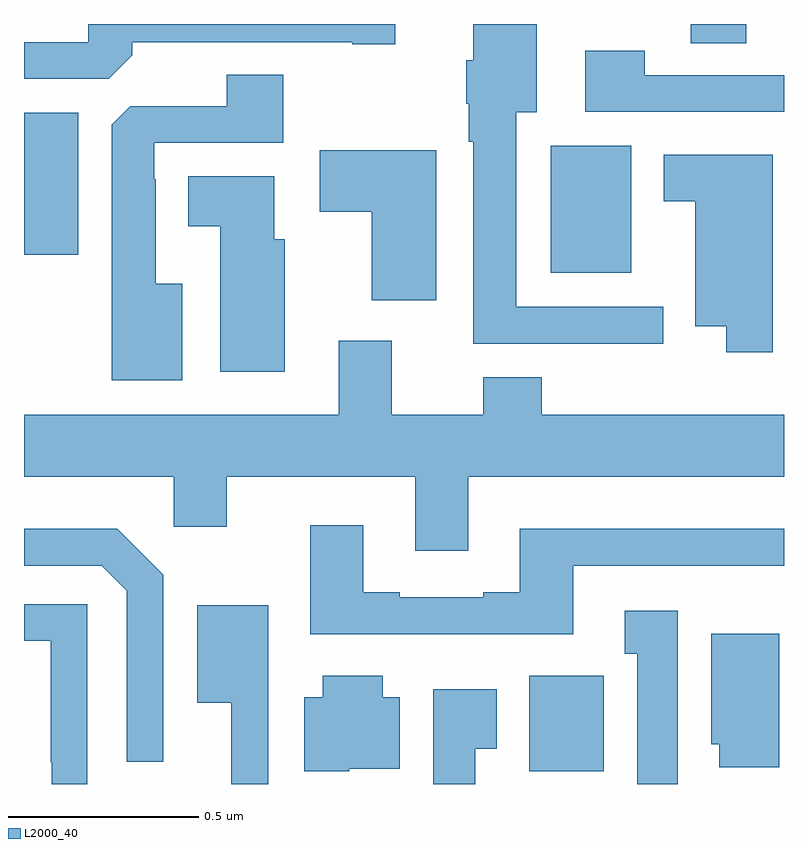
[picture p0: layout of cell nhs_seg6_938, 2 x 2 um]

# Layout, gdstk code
import gdstk
lib = gdstk.Library(unit=1e-6, precision=1e-09)
def R(c, l, rs):  # rectangles x0, y0, x1, y1
    for r in rs: c.add(gdstk.rectangle(r[:2], r[2:], *l))
def P(c, l, *ps):  # polygons
    for p in ps: c.add(gdstk.Polygon(p, *l))
L2000_40 = (2000, 40)

nhs_seg6_938 = lib.new_cell('nhs_seg6_938')
R(nhs_seg6_938, L2000_40, [(123.329,974.534,123.525,974.785), (123.386,975.845,123.598,976.18), (122,975.893,122.143,976.267), (123.754,976.45,123.901,976.5)])
P(nhs_seg6_938, L2000_40, [(123.682,975.756),(123.295,975.756),(123.295,976.268),(123.349,976.268),(123.349,976.5),(123.182,976.5),(123.182,976.404),(123.164,976.404),(123.164,976.29),(123.17,976.29),(123.17,976.19),(123.182,976.19),(123.182,975.659),(123.682,975.659)],
  [(122.285,976.418),(122.285,976.452),(122.864,976.452),(122.864,976.447),(122.977,976.447),(122.977,976.5),(122.169,976.5),(122.169,976.452),(122,976.452),(122,976.356),(122.223,976.356)],
  [(124,976.365),(123.633,976.365),(123.633,976.429),(123.477,976.429),(123.477,976.269),(124,976.269)],
  [(122.416,975.817),(122.347,975.817),(122.347,976.091),(122.343,976.091),(122.343,976.188),(122.682,976.188),(122.682,976.367),(122.534,976.367),(122.534,976.284),(122.28,976.284),(122.231,976.235),(122.231,975.563),(122.416,975.563)],
  [(123.085,976.168),(122.778,976.168),(122.778,976.006),(122.915,976.006),(122.915,975.773),(123.085,975.773)],
  [(123.97,976.156),(123.683,976.156),(123.683,976.034),(123.767,976.034),(123.767,975.704),(123.848,975.704),(123.848,975.636),(123.97,975.636)],
  [(122.686,975.933),(122.659,975.933),(122.659,976.099),(122.432,976.099),(122.432,975.968),(122.516,975.968),(122.516,975.585),(122.686,975.585)],
  [(123.169,975.308),(124,975.308),(124,975.472),(123.362,975.472),(123.362,975.571),(123.209,975.571),(123.209,975.472),(122.968,975.472),(122.968,975.667),(122.828,975.667),(122.828,975.472),(122,975.472),(122,975.308),(122.394,975.308),(122.394,975.177),(122.533,975.177),(122.533,975.308),(123.029,975.308),(123.029,975.114),(123.169,975.114)],
  [(123.445,975.075),(124,975.075),(124,975.172),(123.305,975.172),(123.305,975.004),(123.209,975.004),(123.209,974.991),(122.989,974.991),(122.989,975.004),(122.893,975.004),(122.893,975.181),(122.753,975.181),(122.753,974.894),(123.445,974.894)],
  [(122.367,975.051),(122.246,975.172),(122,975.172),(122,975.075),(122.205,975.075),(122.271,975.009),(122.271,974.558),(122.367,974.558)],
  [(122.166,974.973),(122,974.973),(122,974.877),(122.07,974.877),(122.07,974.557),(122.073,974.557),(122.073,974.5),(122.166,974.5)],
  [(122.643,974.971),(122.456,974.971),(122.456,974.714),(122.546,974.714),(122.546,974.5),(122.643,974.5)],
  [(123.721,974.956),(123.581,974.956),(123.581,974.843),(123.614,974.843),(123.614,974.5),(123.721,974.5)],
  [(123.988,974.896),(123.809,974.896),(123.809,974.604),(123.83,974.604),(123.83,974.544),(123.988,974.544)],
  [(122.856,974.54),(122.989,974.54),(122.989,974.728),(122.944,974.728),(122.944,974.785),(122.786,974.785),(122.786,974.728),(122.738,974.728),(122.738,974.534),(122.856,974.534)],
  [(123.187,974.593),(123.244,974.593),(123.244,974.749),(123.077,974.749),(123.077,974.5),(123.187,974.5)])

lib.write_gds('nhs_seg6_938.gds')
